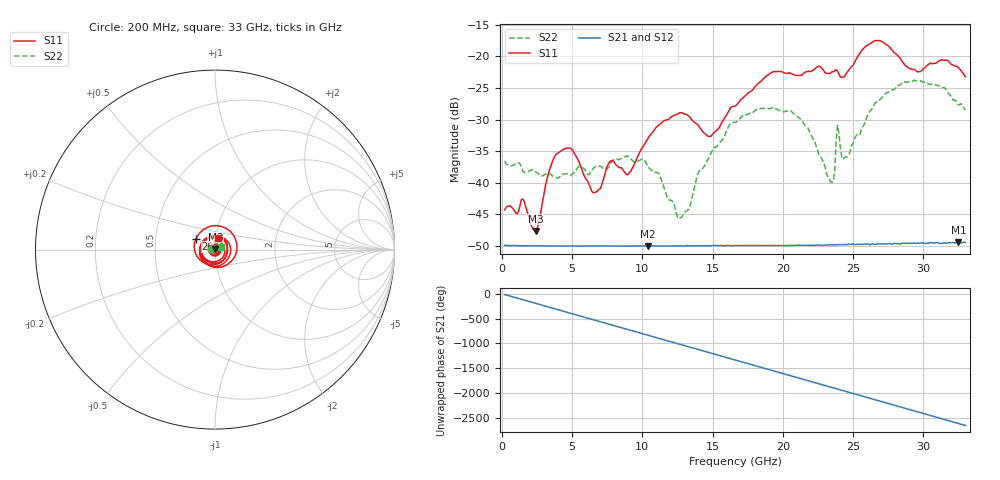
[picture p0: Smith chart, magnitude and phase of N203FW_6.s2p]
# GHZ S RI R 50
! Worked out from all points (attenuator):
!   329 points, 200 MHz to 33 GHz, reference 50 ohm
!   highest |S21| = -49.45 dB at 32.5 GHz (marker M1); lowest = -50.1 dB at 10.4 GHz (marker M2)
!   lowest |S11| = -47.7 dB at 2.4 GHz (marker M3), VSWR 1.01, Z = 50.3 + j0.322 ohm
!   |S11| at or under -10 dB: start of sweep to end of sweep
!   |S22| runs from -45.7 to -23.8 dB; largest |S21 - S12| = 8.8e-05
!   S11 on the Smith chart (normalised r, x): 200 MHz: 1.01, +0.00; 26 GHz: 0.80, +0.10; 33 GHz: 1.03, +0.14
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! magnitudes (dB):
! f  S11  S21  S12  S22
! 200 MHz  -44.3  -50.0  -49.9  -36.6
! 1.5 GHz  -42.6  -50.0  -50.0  -38.2
! 2.4 GHz  -47.7  -50.0  -50.0  -38.3
! 3.8 GHz  -35.7  -50.0  -50.0  -39.1
! 5.7 GHz  -38.0  -50.1  -50.0  -37.6
! 6.7 GHz  -41.5  -50.0  -50.0  -37.4
! 10.4 GHz  -33.0  -50.1  -50.1  -37.5
! 11.2 GHz  -30.8  -50.1  -50.0  -38.7
! 12.8 GHz  -28.9  -50.0  -50.0  -45.5
! 14.8 GHz  -32.7  -50.0  -50.0  -35.7
! 16.6 GHz  -27.9  -50.0  -50.0  -30.4
! 20.5 GHz  -22.6  -50.0  -50.0  -28.6
! 22.1 GHz  -22.2  -49.9  -49.9  -32.8
! 23.5 GHz  -22.4  -49.9  -49.8  -40.0
! 23.7 GHz  -22.3  -49.9  -49.9  -38.2
! 23.9 GHz  -22.3  -49.9  -49.9  -30.9
! 24.3 GHz  -23.3  -49.8  -49.8  -36.3
! 26 GHz  -18.3  -49.8  -49.7  -29.5
! 27.6 GHz  -18.5  -49.7  -49.7  -25.6
! 29.8 GHz  -22.4  -49.6  -49.7  -23.8
! 32.5 GHz  -21.8  -49.5  -49.4  -27.7
! 33 GHz  -23.2  -49.5  -49.5  -28.5
